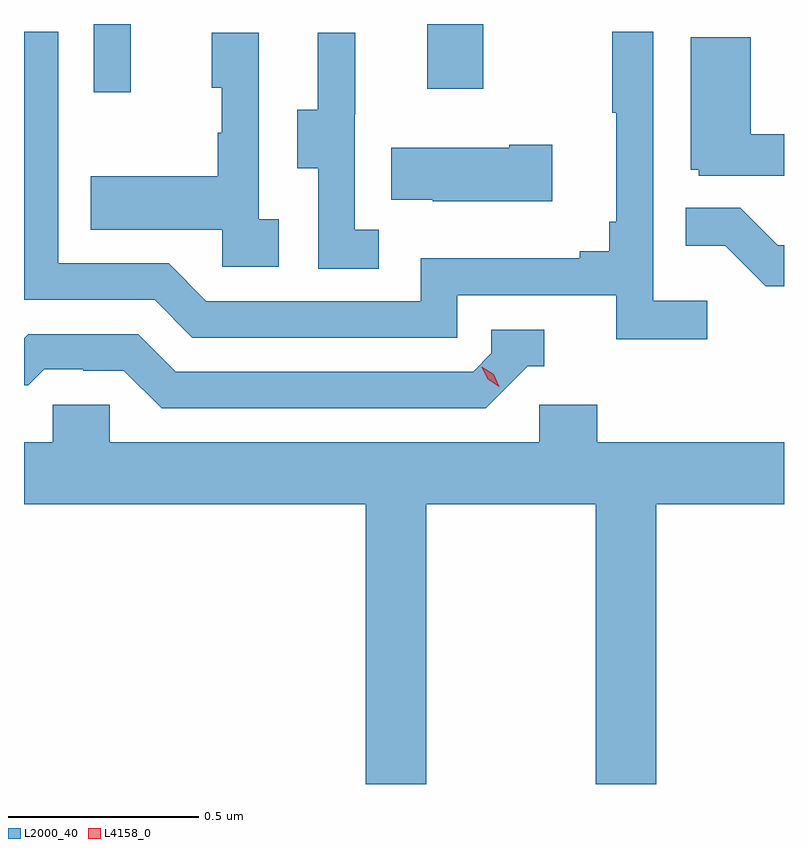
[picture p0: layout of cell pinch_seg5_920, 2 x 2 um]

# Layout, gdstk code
import gdstk
lib = gdstk.Library(unit=1e-6, precision=1e-09)
def R(c, l, rs):  # rectangles x0, y0, x1, y1
    for r in rs: c.add(gdstk.rectangle(r[:2], r[2:], *l))
def P(c, l, *ps):  # polygons
    for p in ps: c.add(gdstk.Polygon(p, *l))
L2000_40 = (2000, 40)
L4158_0 = (4158, 0)

pinch_seg5_920 = lib.new_cell('pinch_seg5_920')
R(pinch_seg5_920, L2000_40, [(820.671,885.816,820.769,885.996), (821.549,885.825,821.697,885.996)])
P(pinch_seg5_920, L2000_40, [(822.286,885.268),(822.144,885.268),(822.144,885.976),(822.036,885.976),(822.036,885.763),(822.047,885.763),(822.047,885.475),(822.028,885.475),(822.028,885.398),(821.951,885.398),(821.951,885.379),(821.532,885.379),(821.532,885.267),(820.968,885.267),(820.869,885.366),(820.578,885.366),(820.578,885.975),(820.488,885.975),(820.488,885.27),(820.832,885.27),(820.931,885.171),(821.628,885.171),(821.628,885.282),(822.047,885.282),(822.047,885.166),(822.286,885.166)],
  [(821.422,885.455),(821.358,885.455),(821.358,885.759),(821.36,885.759),(821.36,885.973),(821.261,885.973),(821.261,885.771),(821.207,885.771),(821.207,885.616),(821.262,885.616),(821.262,885.352),(821.422,885.352)],
  [(821.158,885.482),(821.106,885.482),(821.106,885.973),(820.982,885.973),(820.982,885.828),(821.008,885.828),(821.008,885.71),(820.998,885.71),(820.998,885.595),(820.663,885.595),(820.663,885.455),(821.01,885.455),(821.01,885.357),(821.158,885.357)],
  [(822.488,885.706),(822.4,885.706),(822.4,885.961),(822.242,885.961),(822.242,885.612),(822.264,885.612),(822.264,885.597),(822.488,885.597)],
  [(821.878,885.678),(821.765,885.678),(821.765,885.67),(821.455,885.67),(821.455,885.533),(821.563,885.533),(821.563,885.53),(821.878,885.53)],
  [(822.488,885.414),(822.471,885.414),(822.373,885.512),(822.229,885.512),(822.229,885.413),(822.333,885.413),(822.44,885.306),(822.488,885.306)],
  [(821.814,885.096),(821.857,885.096),(821.857,885.192),(821.718,885.192),(821.718,885.129),(821.67,885.081),(820.887,885.081),(820.788,885.18),(820.499,885.18),(820.488,885.169),(820.488,885.045),(820.499,885.045),(820.541,885.087),(820.644,885.087),(820.644,885.084),(820.751,885.084),(820.85,884.985),(821.703,884.985)],
  [(821.547,884.732),(821.992,884.732),(821.992,883.996),(822.152,883.996),(822.152,884.732),(822.488,884.732),(822.488,884.896),(821.996,884.896),(821.996,884.994),(821.844,884.994),(821.844,884.896),(820.713,884.896),(820.713,884.994),(820.563,884.994),(820.563,884.896),(820.488,884.896),(820.488,884.732),(821.387,884.732),(821.387,883.996),(821.547,883.996)])
P(pinch_seg5_920, L4158_0, [(821.739,885.041),(821.708,885.061),(821.692,885.094),(821.692,885.094),(821.693,885.094),(821.724,885.074),(821.739,885.041),(821.739,885.041)])

lib.write_gds('pinch_seg5_920.gds')
